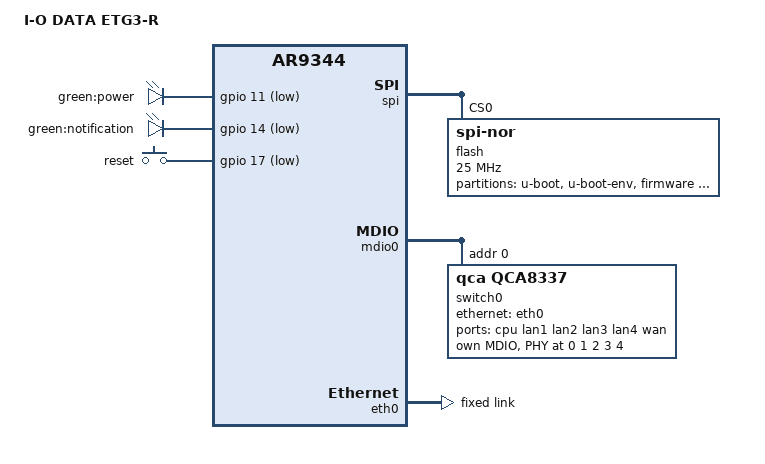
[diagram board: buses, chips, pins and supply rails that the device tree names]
// SPDX-License-Identifier: GPL-2.0-or-later OR MIT

#include "ar9344.dtsi"

#include <dt-bindings/gpio/gpio.h>
#include <dt-bindings/input/input.h>

/ {
	compatible = "iodata,etg3-r", "qca,ar9344";
	model = "I-O DATA ETG3-R";

	aliases {
		led-boot = &led_power;
		led-failsafe = &led_power;
		led-running = &led_power;
		led-upgrade = &led_power;
	};

	leds {
		compatible = "gpio-leds";

		led_power: power {
			label = "green:power";
			gpios = <&gpio 11 GPIO_ACTIVE_LOW>;
			default-state = "on";
		};

		notification {
			label = "green:notification";
			gpios = <&gpio 14 GPIO_ACTIVE_LOW>;
		};
	};

	keys {
		compatible = "gpio-keys";

		reset {
			label = "reset";
			linux,code = <KEY_RESTART>;
			gpios = <&gpio 17 GPIO_ACTIVE_LOW>;
			debounce-interval = <60>;
		};
	};
};

&ref {
	clock-frequency = <40000000>;
};

&spi {
	status = "okay";

	flash@0 {
		compatible = "jedec,spi-nor";
		reg = <0>;
		spi-max-frequency = <25000000>;

		partitions {
			compatible = "fixed-partitions";
			#address-cells = <1>;
			#size-cells = <1>;

			partition@0 {
				label = "u-boot";
				reg = <0x000000 0x040000>;
				read-only;
			};

			partition@40000 {
				label = "u-boot-env";
				reg = <0x040000 0x010000>;
			};

			partition@50000 {
				compatible = "denx,uimage";
				label = "firmware";
				reg = <0x050000 0x780000>;
			};

			partition@7d0000 {
				label = "Config";
				reg = <0x07d0000 0x10000>;
				read-only;
			};

			partition@7e0000 {
				label = "Rsv";
				reg = <0x07e0000 0x10000>;
				read-only;
			};

			partition@7f0000 {
				label = "art";
				reg = <0x7f0000 0x010000>;
				read-only;
			};
		};
	};
};

&mdio0 {
	status = "okay";

	switch0@10 {
		compatible = "qca,qca8337";
		#address-cells = <1>;
		#size-cells = <0>;

		reg = <0>;

		ports {
			#address-cells = <1>;
			#size-cells = <0>;

			port@0 {
				reg = <0>;
				label = "cpu";
				ethernet = <&eth0>;
				phy-mode = "rgmii-id";

				fixed-link {
					speed = <1000>;
					full-duplex;
				};
			};

			port@1 {
				reg = <1>;
				label = "lan1";
				phy-mode = "internal";
				phy-handle = <&phy_port1>;
			};

			port@2 {
				reg = <2>;
				label = "lan2";
				phy-mode = "internal";
				phy-handle = <&phy_port2>;
			};

			port@3 {
				reg = <3>;
				label = "lan3";
				phy-mode = "internal";
				phy-handle = <&phy_port3>;
			};

			port@4 {
				reg = <4>;
				label = "lan4";
				phy-mode = "internal";
				phy-handle = <&phy_port4>;
			};

			port@5 {
				reg = <5>;
				label = "wan";
				phy-mode = "internal";
				phy-handle = <&phy_port5>;
			};
		};

		mdio {
			#address-cells = <1>;
			#size-cells = <0>;

			phy_port1: phy@0 {
				reg = <0>;
			};

			phy_port2: phy@1 {
				reg = <1>;
			};

			phy_port3: phy@2 {
				reg = <2>;
			};

			phy_port4: phy@3 {
				reg = <3>;
			};

			phy_port5: phy@4 {
				reg = <4>;
			};
		};
	};
};

&eth0 {
	status = "okay";

	pll-data = <0x0e000000 0x00000101 0x00001616>;

	gmac-config {
		device = <&gmac>;

		rgmii-gmac0 = <1>;
		rxd-delay = <3>;
		rxdv-delay = <3>;
	};

	fixed-link {
		speed = <1000>;
		full-duplex;
	};
};
